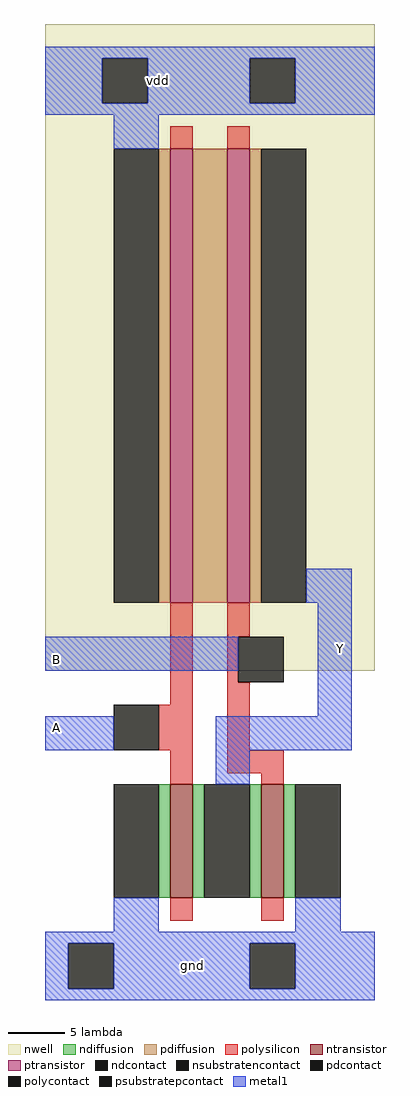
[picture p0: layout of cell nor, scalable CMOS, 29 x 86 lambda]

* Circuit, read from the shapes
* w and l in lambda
.subckt nor A B Y gnd vdd
M1 Y A gnd gnd nfet w=10 l=2
M2 gnd B Y gnd nfet w=10 l=2
M3 n1 A vdd vdd pfet w=40 l=2
M4 Y B n1 vdd pfet w=40 l=2
.ends

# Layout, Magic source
magic
tech scmos
<< nwell >>
rect -4 26 25 83
<< ntransistor >>
rect 7 6 9 16
rect 15 6 17 16
<< ptransistor >>
rect 7 32 9 72
rect 12 32 14 72
<< ndiffusion >>
rect 6 6 7 16
rect 9 6 10 16
rect 14 6 15 16
rect 17 6 18 16
<< pdiffusion >>
rect 6 32 7 72
rect 9 32 12 72
rect 14 32 15 72
<< ndcontact >>
rect 2 6 6 16
rect 10 6 14 16
rect 18 6 22 16
<< pdcontact >>
rect 2 32 6 72
rect 15 32 19 72
<< psubstratepcontact >>
rect -2 -2 2 2
rect 14 -2 18 2
<< nsubstratencontact >>
rect 1 76 5 80
rect 14 76 18 80
<< polysilicon >>
rect 7 72 9 74
rect 12 72 14 74
rect 7 23 9 32
rect 6 19 9 23
rect 7 16 9 19
rect 12 29 14 32
rect 12 25 13 29
rect 12 19 14 25
rect 12 17 17 19
rect 15 16 17 17
rect 7 4 9 6
rect 15 4 17 6
<< polycontact >>
rect 2 19 6 23
rect 13 25 17 29
<< metal1 >>
rect -4 80 25 81
rect -4 76 1 80
rect 5 76 14 80
rect 18 76 25 80
rect -4 75 25 76
rect 2 72 6 75
rect 19 32 23 35
rect -4 26 13 29
rect -4 19 2 22
rect 20 22 23 32
rect 11 19 23 22
rect 11 16 14 19
rect 2 3 6 6
rect 18 3 22 6
rect -4 2 25 3
rect -4 -2 -2 2
rect 2 -2 14 2
rect 18 -2 25 2
rect -4 -3 25 -2
<< labels >>
rlabel metal1 9 0 9 0 8 gnd
rlabel metal1 -3 21 -3 21 3 A
rlabel metal1 22 28 22 28 7 Y
rlabel metal1 -3 27 -3 27 3 B
rlabel metal1 6 78 6 78 5 vdd
<< end >>
